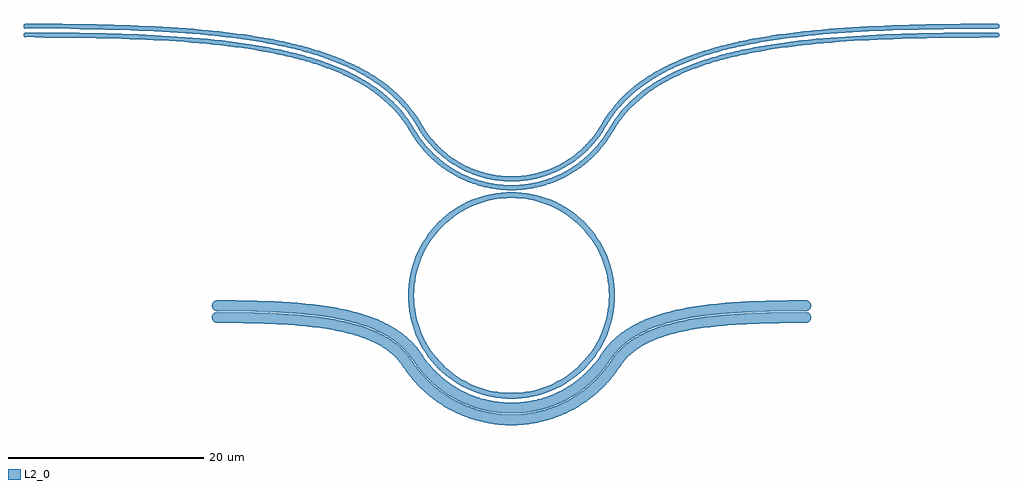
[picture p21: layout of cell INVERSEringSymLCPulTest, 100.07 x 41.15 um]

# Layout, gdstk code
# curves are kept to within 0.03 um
import gdstk
lib = gdstk.Library(unit=1e-6, precision=1e-09)
def P(c, l, *ps):  # polygons
    for p in ps: c.add(gdstk.Polygon(p, *l))
L2_0 = (2, 0)

inverseringsymlcpultest = lib.new_cell('INVERSEringSymLCPulTest')
P(inverseringsymlcpultest, L2_0, [(10,-30.6),(8.961,-30.549),(7.932,-30.396),(6.923,-30.144),(5.944,-29.793),(5.003,-29.348),(4.111,-28.814),(3.275,-28.194),(2.505,-27.495),(1.806,-26.725),(1.186,-25.889),(0.652,-24.997),(0.207,-24.056),(-0.144,-23.077),(-0.396,-22.068),(-0.549,-21.039),(-0.6,-20),(-0.549,-18.961),(-0.396,-17.932),(-0.144,-16.923),(0.207,-15.944),(0.652,-15.003),(1.186,-14.111),(1.806,-13.275),(2.505,-12.505),(3.275,-11.806),(4.111,-11.186),(5.003,-10.652),(5.944,-10.207),(6.923,-9.856),(7.932,-9.604),(8.961,-9.451),(10,-9.4),(11.039,-9.451),(12.068,-9.604),(13.077,-9.856),(14.056,-10.207),(14.997,-10.652),(15.889,-11.186),(16.725,-11.806),(17.495,-12.505),(18.194,-13.275),(18.814,-14.111),(19.348,-15.003),(19.793,-15.944),(20.144,-16.923),(20.396,-17.932),(20.549,-18.961),(20.6,-20),(20,-20),(19.892,-18.533),(19.569,-17.097),(19.04,-15.724),(18.577,-14.859),(18.032,-14.043),(17.41,-13.284),(16.344,-12.27),(15.141,-11.423),(13.827,-10.761),(12.43,-10.3),(10.98,-10.048),(9.509,-10.012),(8.049,-10.192),(6.631,-10.585),(5.286,-11.181),(4.043,-11.968),(2.929,-12.929),(1.968,-14.043),(1.423,-14.859),(0.96,-15.724),(0.431,-17.097),(0.192,-18.049),(0.012,-19.509),(0.048,-20.98),(0.192,-21.951),(0.431,-22.903),(0.96,-24.276),(1.685,-25.556),(2.27,-26.344),(3.284,-27.41),(4.043,-28.032),(5.286,-28.819),(6.173,-29.239),(7.57,-29.7),(8.533,-29.892),(9.509,-29.988),(10.98,-29.952),(11.951,-29.808),(13.369,-29.415),(14.276,-29.04),(15.556,-28.315),(16.716,-27.41),(17.41,-26.716),(18.032,-25.957),(18.577,-25.141),(19.239,-23.827),(19.7,-22.43),(19.892,-21.467),(20,-20),(20.6,-20),(20.549,-21.039),(20.396,-22.068),(20.144,-23.077),(19.793,-24.056),(19.348,-24.997),(18.814,-25.889),(18.194,-26.725),(17.495,-27.495),(16.725,-28.194),(15.889,-28.814),(14.997,-29.348),(14.056,-29.793),(13.077,-30.144),(12.068,-30.396),(11.039,-30.549)],
  [(40.165,-22.805),(40.165,-21.705),(40.379,-21.748),(40.554,-21.866),(40.672,-22.041),(40.715,-22.255),(40.672,-22.469),(40.554,-22.644),(40.379,-22.762)],
  [(10,-33.3),(8.251,-33.185),(7.437,-33.051),(6.433,-32.813),(4.78,-32.233),(3.216,-31.44),(1.852,-30.512),(0.614,-29.423),(-0.417,-28.269),(-1.571,-26.69),(-2.327,-25.938),(-2.848,-25.538),(-3.519,-25.117),(-4.147,-24.792),(-5.06,-24.408),(-6.32,-24),(-7.709,-23.664),(-9.33,-23.375),(-11.078,-23.156),(-14.937,-22.893),(-20.276,-22.794),(-20.473,-22.711),(-20.649,-22.517),(-20.713,-22.311),(-20.691,-22.091),(-20.59,-21.905),(-20.473,-21.799),(-20.165,-21.705),(-20.165,-22.805),(-20.165,-21.705),(-16.121,-21.754),(-12.828,-21.905),(-10.556,-22.107),(-8.799,-22.345),(-6.86,-22.726),(-5.394,-23.132),(-4.319,-23.521),(-3.335,-23.973),(-2.443,-24.49),(-1.74,-25.001),(-0.784,-25.92),(0.504,-27.659),(1.457,-28.71),(2.526,-29.643),(3.777,-30.494),(5.298,-31.258),(6.82,-31.778),(8.396,-32.094),(9.243,-32.177),(10.095,-32.2),(11.792,-32.068),(13.272,-31.753),(14.789,-31.221),(16.223,-30.494),(17.474,-29.643),(18.543,-28.71),(19.496,-27.659),(20.707,-26.01),(21.645,-25.078),(22.443,-24.49),(23.218,-24.034),(24.065,-23.628),(25.117,-23.224),(26.257,-22.878),(27.805,-22.522),(29.487,-22.242),(31.294,-22.03),(33.224,-21.879),(35.271,-21.781),(40.165,-21.705),(40.165,-22.805),(34.937,-22.893),(31.078,-23.156),(29.33,-23.375),(27.709,-23.664),(26.32,-24),(25.06,-24.408),(24.147,-24.792),(23.519,-25.117),(22.848,-25.538),(22.327,-25.938),(21.571,-26.69),(20.417,-28.269),(19.386,-29.423),(18.148,-30.512),(16.784,-31.44),(15.22,-32.233),(13.567,-32.813),(12.563,-33.051),(11.749,-33.185)],
  [(10,-32.1),(8.409,-31.995),(6.846,-31.682),(5.251,-31.129),(3.828,-30.408),(2.662,-29.621),(1.527,-28.639),(0.582,-27.597),(-0.64,-25.934),(-1.587,-24.997),(-2.182,-24.546),(-2.942,-24.071),(-3.774,-23.649),(-4.811,-23.226),(-6.231,-22.782),(-7.464,-22.489),(-9.123,-22.193),(-10.909,-21.969),(-12.817,-21.806),(-14.844,-21.697),(-20.222,-21.602),(-20.473,-21.511),(-20.621,-21.362),(-20.713,-21.111),(-20.691,-20.891),(-20.59,-20.705),(-20.473,-20.599),(-20.165,-20.505),(-20.165,-21.605),(-20.165,-20.505),(-16.052,-20.556),(-12.697,-20.712),(-10.379,-20.92),(-8.584,-21.164),(-6.559,-21.564),(-4.955,-22.015),(-3.776,-22.452),(-2.822,-22.893),(-1.943,-23.391),(-1.033,-24.034),(-0.417,-24.57),(0.139,-25.154),(1.332,-26.772),(2.177,-27.733),(3.194,-28.642),(4.316,-29.418),(5.682,-30.117),(7.132,-30.62),(8.723,-30.926),(10.085,-31),(11.615,-30.881),(13.032,-30.574),(14.318,-30.117),(15.684,-29.418),(16.806,-28.642),(17.823,-27.733),(18.668,-26.772),(19.861,-25.154),(20.32,-24.664),(20.926,-24.12),(21.706,-23.544),(22.563,-23.029),(23.496,-22.572),(24.652,-22.118),(25.9,-21.733),(27.239,-21.412),(28.933,-21.11),(30.754,-20.88),(32.697,-20.712),(34.76,-20.6),(40.165,-20.505),(40.165,-21.605),(34.844,-21.697),(32.426,-21.834),(30.542,-22.008),(28.781,-22.247),(27.148,-22.557),(25.646,-22.949),(24.543,-23.326),(23.651,-23.706),(22.942,-24.071),(22.182,-24.546),(21.587,-24.997),(20.64,-25.934),(19.535,-27.45),(18.606,-28.506),(17.56,-29.448),(16.252,-30.36),(14.836,-31.092),(13.245,-31.657),(11.591,-31.995)],
  [(40.165,-21.605),(40.165,-20.505),(40.379,-20.548),(40.554,-20.666),(40.672,-20.841),(40.715,-21.055),(40.672,-21.269),(40.554,-21.444),(40.379,-21.562)],
  [(10,-9.2),(9.018,-9.16),(8.236,-9.07),(7.463,-8.929),(6.511,-8.682),(4.95,-8.086),(4.248,-7.732),(3.405,-7.226),(2.151,-6.277),(1.098,-5.247),(0.235,-4.175),(-0.756,-2.609),(-1.43,-1.68),(-2.35,-0.651),(-3.388,0.288),(-4.744,1.274),(-6.481,2.265),(-8.161,3.023),(-10.256,3.771),(-12.533,4.405),(-15.001,4.937),(-17.683,5.378),(-20.898,5.764),(-24.313,6.049),(-29.162,6.294),(-33.445,6.403),(-39.812,6.451),(-39.993,6.56),(-40.025,6.774),(-39.926,6.907),(-39.786,6.95),(-32.546,6.886),(-27.466,6.725),(-22.709,6.43),(-19.009,6.057),(-15.896,5.605),(-13.005,5.031),(-10.348,4.322),(-8.182,3.567),(-6.442,2.801),(-4.637,1.795),(-3.224,0.795),(-2.14,-0.157),(-1.175,-1.201),(-0.465,-2.145),(0.642,-3.884),(1.532,-4.981),(2.622,-6.021),(3.839,-6.91),(5.247,-7.672),(5.943,-7.961),(6.837,-8.257),(8.403,-8.589),(9.153,-8.669),(10.094,-8.7),(10.847,-8.669),(11.783,-8.561),(13.344,-8.203),(14.839,-7.632),(15.595,-7.247),(16.32,-6.808),(17.522,-5.899),(18.532,-4.911),(19.413,-3.807),(20.465,-2.145),(21.175,-1.201),(22.14,-0.157),(23.224,0.795),(24.637,1.795),(26.205,2.683),(27.924,3.464),(30.067,4.235),(32.395,4.886),(35.233,5.488),(38.299,5.966),(41.95,6.365),(45.843,6.644),(49.967,6.821),(55.201,6.927),(59.86,6.939),(59.993,6.84),(60.035,6.674),(59.963,6.523),(59.812,6.451),(53.445,6.403),(48.331,6.262),(44.313,6.049),(40.166,5.687),(37.339,5.328),(34.678,4.875),(32.239,4.332),(29.984,3.684),(27.912,2.921),(26.253,2.149),(24.744,1.274),(23.388,0.288),(22.35,-0.651),(21.43,-1.68),(20.756,-2.609),(19.765,-4.175),(18.902,-5.247),(17.849,-6.277),(16.595,-7.226),(15.752,-7.732),(15.05,-8.086),(13.489,-8.682),(12.537,-8.929),(11.764,-9.07),(10.982,-9.16)],
  [(10,-8.3),(8.549,-8.205),(7.742,-8.068),(6.86,-7.847),(5.999,-7.554),(5.247,-7.231),(3.9,-6.474),(2.74,-5.597),(1.765,-4.643),(0.967,-3.651),(-0.14,-1.912),(-0.866,-0.949),(-1.851,0.118),(-2.957,1.091),(-4.397,2.114),(-5.993,3.021),(-8.004,3.925),(-9.922,4.607),(-12.287,5.271),(-14.828,5.82),(-17.533,6.265),(-20.772,6.655),(-25.003,6.994),(-29.095,7.191),(-34.293,7.316),(-39.812,7.351),(-39.993,7.46),(-40.025,7.674),(-39.926,7.807),(-39.786,7.85),(-32.502,7.785),(-27.387,7.622),(-22.597,7.323),(-18.87,6.946),(-15.731,6.49),(-12.781,5.902),(-10.025,5.162),(-8.044,4.475),(-5.963,3.562),(-4.083,2.504),(-2.609,1.451),(-1.475,0.449),(-0.466,-0.649),(0.279,-1.64),(1.374,-3.361),(2.136,-4.308),(3.133,-5.275),(4.175,-6.056),(5.54,-6.816),(7.001,-7.367),(8.442,-7.685),(9.219,-7.771),(10.087,-7.8),(11.644,-7.672),(13.082,-7.342),(14.539,-6.779),(15.825,-6.056),(16.867,-5.275),(17.864,-4.308),(18.626,-3.361),(19.721,-1.64),(20.466,-0.649),(21.475,0.449),(22.609,1.451),(24.083,2.504),(25.963,3.562),(28.044,4.475),(30.025,5.162),(32.464,5.828),(35.396,6.432),(38.511,6.901),(41.832,7.258),(45.754,7.539),(49.905,7.719),(55.173,7.827),(59.86,7.839),(59.993,7.74),(60.035,7.574),(59.963,7.423),(59.812,7.351),(53.406,7.302),(48.258,7.159),(44.213,6.943),(40.035,6.578),(36.841,6.163),(34.502,5.757),(32.287,5.271),(29.922,4.607),(28.004,3.925),(25.993,3.021),(24.397,2.114),(22.957,1.091),(21.851,0.118),(20.866,-0.949),(20.14,-1.912),(19.033,-3.651),(18.235,-4.643),(17.26,-5.597),(16.1,-6.474),(14.753,-7.231),(14.001,-7.554),(13.14,-7.847),(12.258,-8.068),(11.451,-8.205)])

lib.write_gds('INVERSEringSymLCPulTest.gds')
